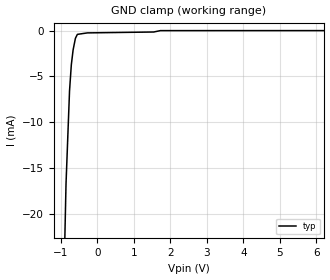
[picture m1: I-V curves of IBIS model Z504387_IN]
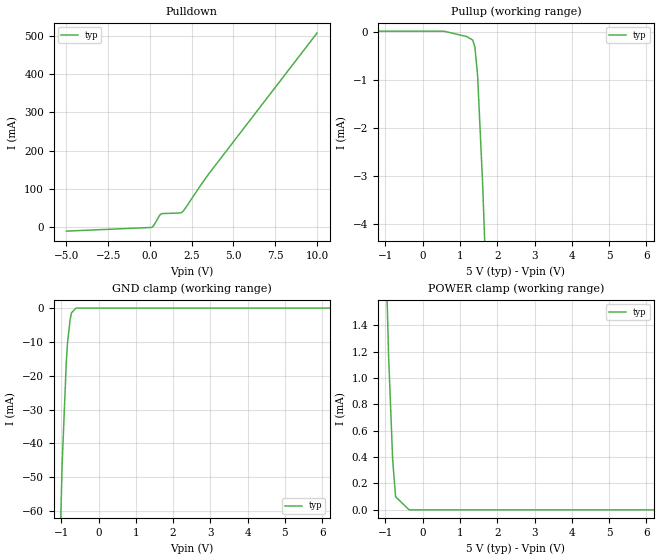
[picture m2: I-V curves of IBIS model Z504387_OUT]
| YOU ARE ONLY AUTHORIZED TO USE THIS SOFTWARE
| ACCORDING TO LICENSOR'S LICENSE RESTRICTIONS.
[IBIS Ver] 3.1
[File Name] sn54ls155j.ibs
[File Rev] 2.0
[Source] Measured and created by ICX Technology
[Date] Friday 7/14/00 9:08:13 AM
[Copyright]
| (C) COPYRIGHT 1993-2000
| MENTOR GRAPHICS CORPORATION
| ICX STANDARD LIBRARY, ICX PROJECT MODELING,
| ICX CUSTOM MODELING, ICX VENDOR MODEL
| ALL RIGHTS RESERVED.
| THE FOLLOWING ARE TRADEMARKS OR SERVICE MARKS OF
| MENTOR GRAPHICS CORPORATION:ICX (R), ICX STANDARD
| LIBRARY(R), ICX PROJECT MODELING(R), ICX CUSTOM
| MODELING(R), qualityIBIS(TM), MODELVIEWER(TM),
| AND MODELEDITOR(TM)
| ALL COPIES OF SOFTWARE, INCLUDING BUT NOT LIMITED TO
| ANY MODIFICATIONS, ENHANCEMENTS OR DERIVATIVE WORKS,
| MUST CONTAIN ALL MENTOR GRAPHICS CORPORATION'S
| NOTICES AND LEGENDS, INCLUDING THOSE EMBEDDED IN
| SOFTWARE AND THOSE AFFIXED TO SOFTWARE MEDIUM
| AND CONTAINER, AS RECEIVED FROM MENTOR GRAPHICS
| CORPORATION.
|  ZAP Model Builder 2.7
[Component] SN54LS155J
[Manufacturer] OnSemiconductor
[Package]
| variable   typ   min   max
R_pkg  .212ohms NA NA
L_pkg  4.758nH NA NA
C_pkg  1.944pF NA NA
[Pin] signal_name  model_name  R_pin  L_pin C_pin
1 C1 Z504387_IN .224 7.258n 2.683p
2 _G1 Z504387_IN .216 5.258n 2.19p
3 B Z504387_IN .208 3.758n 1.697p
4 Y3A Z504387_OUT .2 2.758n 1.204p
5 Y2A Z504387_OUT .2 2.758n 1.204p
6 Y1A Z504387_OUT .208 3.758n 1.697p
7 Y0A Z504387_OUT .216 5.258n 2.19p
8 GND GND .224 7.258n 2.683p
9 Y0B Z504387_OUT .224 7.258n 2.683p
10 Y1B Z504387_OUT .216 5.258n 2.19p
11 Y2B Z504387_OUT .208 3.758n 1.697p
12 Y3B Z504387_OUT .2 2.758n 1.204p
13 A Z504387_IN .2 2.758n 1.204p
14 _G2 Z504387_IN .208 3.758n 1.697p
15 _C2 Z504387_IN .216 5.258n 2.19p
16 VCC POWER .224 7.258n 2.683p
| Models and submodels in the file (2): Z504387_IN (Input), Z504387_OUT (Output)
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| (C) COPYRIGHT 1993-2000
| MENTOR GRAPHICS CORPORATION
| ICX STANDARD LIBRARY, ICX PROJECT MODELING,
| ICX CUSTOM MODELING, ICX VENDOR MODEL
| ALL RIGHTS RESERVED.
| THE FOLLOWING ARE TRADEMARKS OR SERVICE MARKS OF
| MENTOR GRAPHICS CORPORATION:ICX (R), ICX STANDARD
| LIBRARY(R), ICX PROJECT MODELING(R), ICX CUSTOM
| MODELING(R), qualityIBIS(TM), MODELVIEWER(TM),
| AND MODELEDITOR(TM)
| ALL COPIES OF SOFTWARE, INCLUDING BUT NOT LIMITED TO
| ANY MODIFICATIONS, ENHANCEMENTS OR DERIVATIVE WORKS,
| MUST CONTAIN ALL MENTOR GRAPHICS CORPORATION'S
| NOTICES AND LEGENDS, INCLUDING THOSE EMBEDDED IN
| SOFTWARE AND THOSE AFFIXED TO SOFTWARE MEDIUM
| AND CONTAINER, AS RECEIVED FROM MENTOR GRAPHICS
| CORPORATION.
| Model Application Version 1.89 2/18/99.
[Model] Z504387_IN
Model_type Input
Vinl = 800.0mV
Vinh = 2.000V
C_comp 4.000pF NA NA
| variable typ   min   max
[Voltage Range] 5.000V NA NA
[GND Clamp Reference] 0.000V NA NA
[POWER Clamp Reference] 5.000V NA NA
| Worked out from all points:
|   GND clamp passes 1 mA (typ) near -0.61 V on its own axis
[GND Clamp]
-5V       -782.5mA   NA         NA
-858.3mV  -16.81mA   NA         NA
-761.7mV  -6.592mA   NA         NA
-712.9mV  -3.756mA   NA         NA
-664.1mV  -2.122mA   NA         NA
-600.6mV  -847.5uA   NA         NA
-546.9mV  -415.5uA   NA         NA
-273.4mV  -254.1uA   NA         NA
1.544V    -157.2uA   NA         NA
1.724V    -5.821uA   NA         NA
10V       -1.274uA   NA         NA
[POWER Clamp]
-5V       0A         NA         NA
10V       0A         NA         NA
| (C) COPYRIGHT 1993-2000
| MENTOR GRAPHICS CORPORATION
| ICX STANDARD LIBRARY, ICX PROJECT MODELING,
| ICX CUSTOM MODELING, ICX VENDOR MODEL
| ALL RIGHTS RESERVED.
| THE FOLLOWING ARE TRADEMARKS OR SERVICE MARKS OF
| MENTOR GRAPHICS CORPORATION:ICX (R), ICX STANDARD
| LIBRARY(R), ICX PROJECT MODELING(R), ICX CUSTOM
| MODELING(R), qualityIBIS(TM), MODELVIEWER(TM),
| AND MODELEDITOR(TM)
| ALL COPIES OF SOFTWARE, INCLUDING BUT NOT LIMITED TO
| ANY MODIFICATIONS, ENHANCEMENTS OR DERIVATIVE WORKS,
| MUST CONTAIN ALL MENTOR GRAPHICS CORPORATION'S
| NOTICES AND LEGENDS, INCLUDING THOSE EMBEDDED IN
| SOFTWARE AND THOSE AFFIXED TO SOFTWARE MEDIUM
| AND CONTAINER, AS RECEIVED FROM MENTOR GRAPHICS
| CORPORATION.
| Model Application Version 1.89 2/18/99.
[Model] Z504387_OUT
Model_type Output
Vref=5.000V
Rref=2.000kohms
Cref=15.00pF
Vmeas=1.300V
C_comp 8.000pF NA NA
| variable typ   min   max
[Voltage Range] 5.000V NA NA
[POWER Clamp Reference] 5.000V NA NA
[Pullup Reference] 5.000V NA NA
[Pulldown Reference] 0.000V NA NA
[GND Clamp Reference] 0.000V NA NA
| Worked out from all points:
|   slope of the pulldown table from 0 to 0.75 V, typ, clamps not added: 20.8 ohm
|   slope of the pullup table from 0 to 0.75 V, typ, clamps not added: 22.4 kohm
|   GND clamp passes 1 mA (typ) near -0.69 V on its own axis
|   POWER clamp passes 1 mA (typ) near -0.89 V on its own axis
[GND Clamp]
-5V       -2.107A    NA         NA
-1.113V   -102.9mA   NA         NA
-975.5mV  -45.85mA   NA         NA
-866mV    -16.16mA   NA         NA
-834.7mV  -10.53mA   NA         NA
-762.3mV  -3.394mA   NA         NA
-727.1mV  -1.426mA   NA         NA
-605.9mV  0A         NA         NA
10V       0A         NA         NA
[Pulldown]
-5V       -10.16mA   NA         NA
68.36mV   -561.4uA   NA         NA
151.4mV   674.9uA    NA         NA
243.6mV   5.45mA     NA         NA
556.7mV   29.34mA    NA         NA
688.2mV   34.91mA    NA         NA
1.919V    39.16mA    NA         NA
2.168V    52.62mA    NA         NA
3.525V    139.4mA    NA         NA
10V       506.5mA    NA         NA
[Pullup]
-5V       15.05uA    NA         NA
566mV     15.05uA    NA         NA
1.182V    -97uA      NA         NA
1.343V    -171.8uA   NA         NA
1.401V    -320uA     NA         NA
1.473V    -910uA     NA         NA
1.611V    -3.219mA   NA         NA
10V       -186.2mA   NA         NA
[POWER Clamp]
-5V       52.48mA    NA         NA
-1.045V   2.556mA    NA         NA
-917mV    1.177mA    NA         NA
-807mV    380.9uA    NA         NA
-728mV    99.05uA    NA         NA
-364mV    0A         NA         NA
10V       0A         NA         NA
[Ramp]
| variable typ min max
dV/dt_r 1.879/6.120n NA NA
dV/dt_f 1.879/2.279n NA NA
R_load = 500.0Ohms
